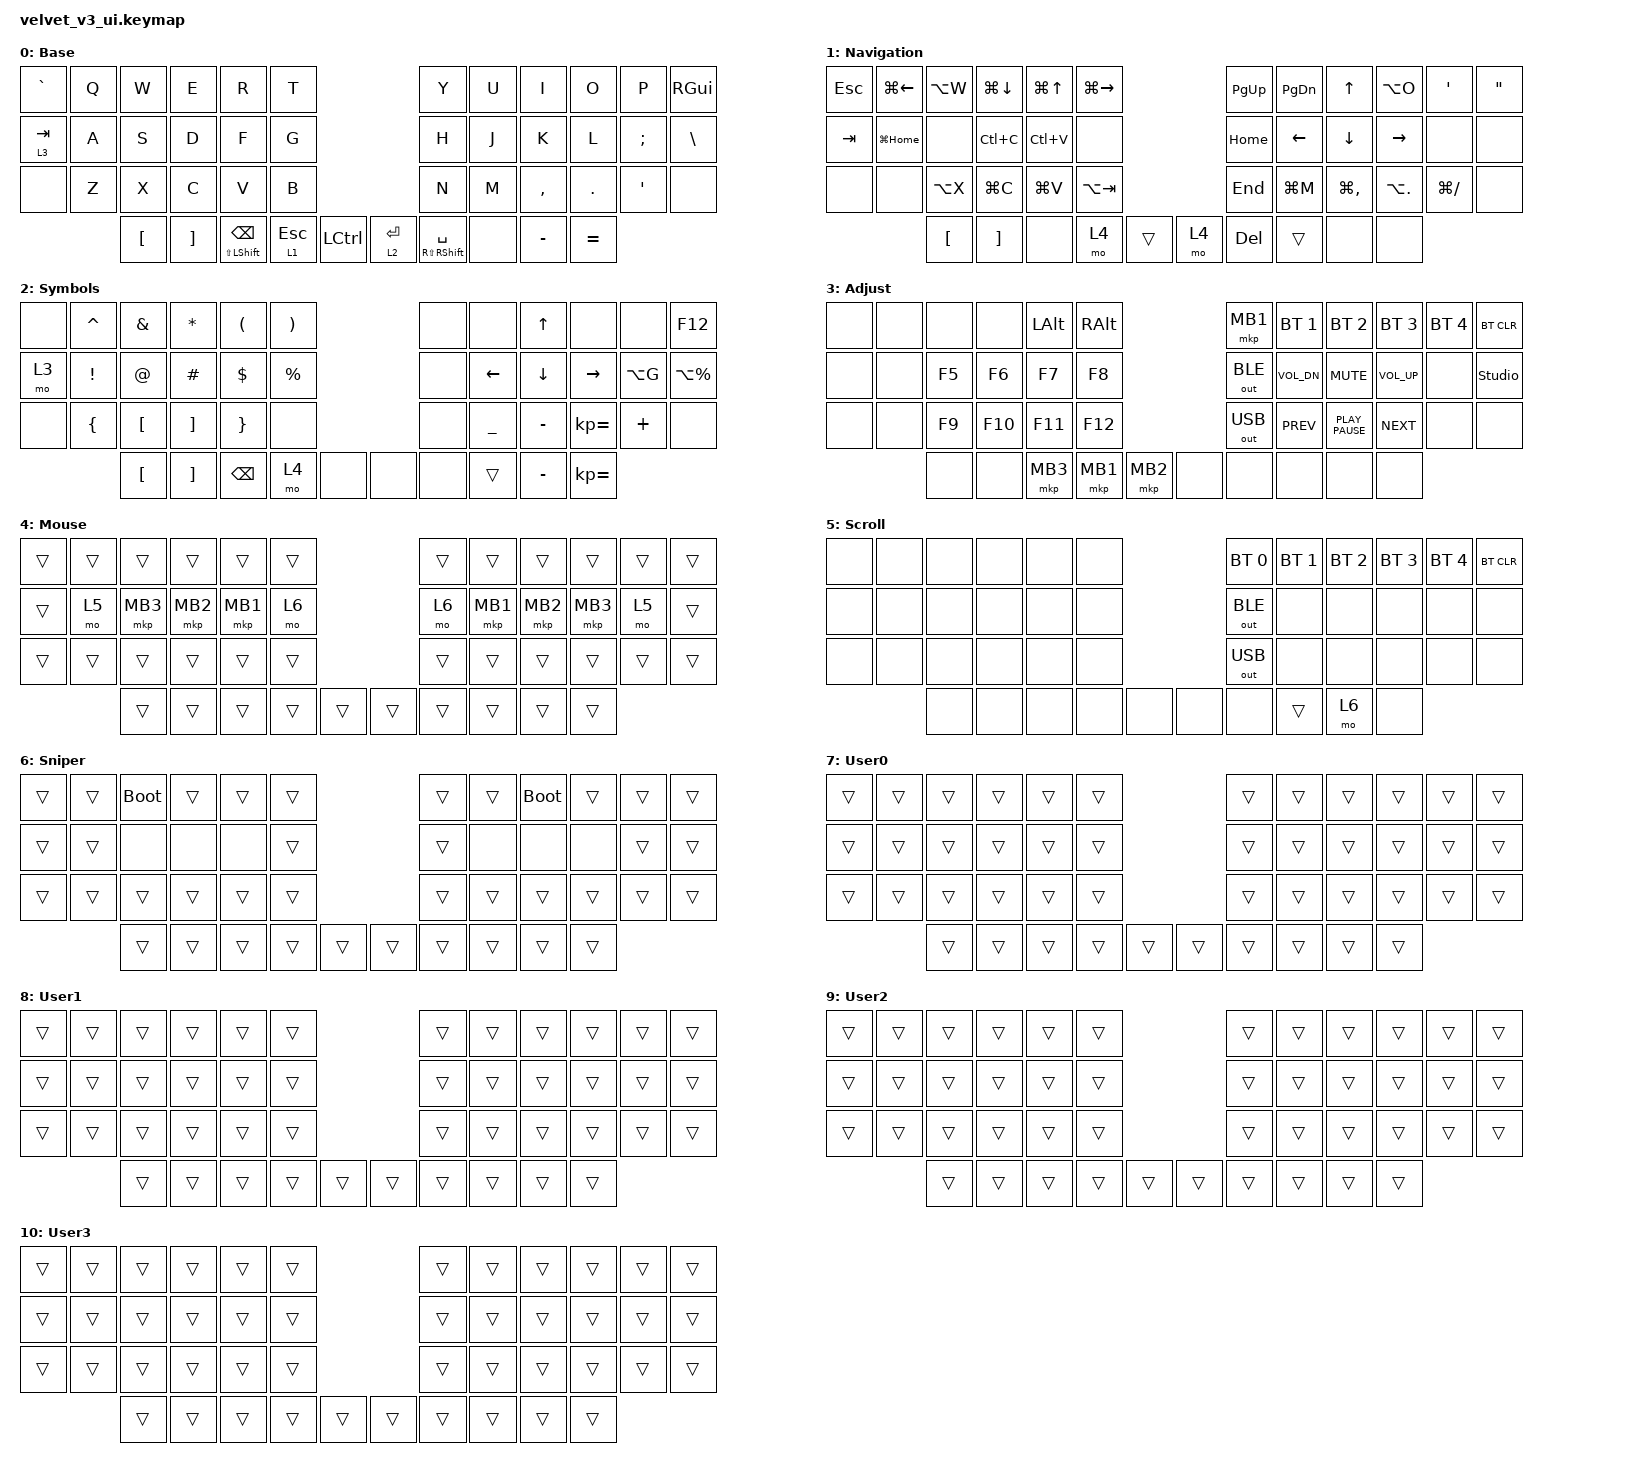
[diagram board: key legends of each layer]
#include "keys_ru.h"
#include <dt-bindings/zmk/input_transform.h>
#include <input/processors.dtsi>
#include <zephyr/dt-bindings/input/input-event-codes.h>
#include <behaviors.dtsi>
#include <dt-bindings/zmk/bt.h>
#include <dt-bindings/zmk/keys.h>
#include <dt-bindings/zmk/outputs.h>
#include <dt-bindings/zmk/pointing.h>

/ {
    behaviors {
        cap_sen: cap_sen {
            compatible = "zmk,behavior-hold-tap";
            label = "CAP_SEN";
            bindings = <&mo>, <&mkp>;

            #binding-cells = <2>;
            tapping-term-ms = <150>;
            hold-while-undecided;
        };

        mouse_layer: mouse_layer {
            compatible = "zmk,behavior-sticky-key";
            label = "MOUSE_LAYER";
            bindings = <&mo>;
            #binding-cells = <1>;
            release-after-ms = <200>;
        };

        zip_auto_mouse: zip_auto_mouse {
            compatible = "zmk,input-processor-temp-layer";
            #input-processor-cells = <2>;
            require-prior-idle-ms = <800>;
            excluded-positions = <>;
        };
    };

    keymap {
        compatible = "zmk,keymap";

        base {
            bindings = <
&kp GRAVE  &kp Q  &kp W     &kp E     &kp R               &kp T                                &kp Y                &kp U  &kp I      &kp O      &kp P     &kp RGUI
&lt 3 TAB  &kp A  &kp S     &kp D     &kp F               &kp G                                &kp H                &kp J  &kp K      &kp L      &kp SEMI  &kp BSLH
&none      &kp Z  &kp X     &kp C     &kp V               &kp B                                &kp N                &kp M  &kp COMMA  &kp DOT    &kp SQT   &none
                  &kp LBKT  &kp RBKT  &mt LS(LSHFT) BSPC  &lt 1 ESC  &kp LCTRL    &lt 2 ENTER  &mt RS(RSHFT) SPACE  &none  &kp MINUS  &kp EQUAL
            >;

            display-name = "Base";
        };

        nav {
            bindings = <
&kp ESC  &kp LG(LEFT_ARROW)  &kp LA(W)         &kp LG(DOWN_ARROW)  &kp LG(UP)  &kp LG(RIGHT_ARROW)                   &kp PG_UP   &kp PAGE_DOWN  &kp UP         &kp LA(O)        &kp SINGLE_QUOTE  &kp DOUBLE_QUOTES
&kp TAB  &kp LG(HOME)        &none             &kp LC(C)           &kp LC(V)   &none                                 &kp HOME    &kp LEFT       &kp DOWN       &kp RIGHT_ARROW  &none             &none
&none    &none               &kp LA(X)         &kp LG(C)           &kp LG(V)   &kp LA(TAB)                           &kp END     &kp LG(M)      &kp LG(COMMA)  &kp LA(DOT)      &kp LG(SLASH)     &none
                             &kp LEFT_BRACKET  &kp RIGHT_BRACKET   &none       &mo 4                &trans    &mo 4  &kp DELETE  &trans         &none          &none
            >;

            display-name = "Navigation";
        };

        sym {
            bindings = <
&none  &kp CARET        &kp AMPERSAND     &kp ASTRK          &kp LEFT_PARENTHESIS  &kp RIGHT_PARENTHESIS                  &none  &none           &kp UP     &none            &none      &kp F12
&mo 3  &kp EXCLAMATION  &kp AT_SIGN       &kp HASH           &kp DLLR              &kp PERCENT                            &none  &kp LEFT_ARROW  &kp DOWN   &kp RIGHT_ARROW  &kp LA(G)  &kp LA(PERCENT)
&none  &kp LEFT_BRACE   &kp LEFT_BRACKET  &kp RIGHT_BRACKET  &kp RIGHT_BRACE       &none                                  &none  &kp UNDER       &kp MINUS  &kp KP_EQUAL     &kp PLUS   &none
                        &kp LEFT_BRACKET  &kp RIGHT_BRACKET  &kp BSPC              &mo 4                  &none    &none  &none  &trans          &kp MINUS  &kp KP_EQUAL
            >;

            display-name = "Symbols";
        };

        adj {
            bindings = <
&none  &none  &none   &none    &kp LEFT_ALT  &kp RALT                     &mkp MB1      &bt BT_SEL 1  &bt BT_SEL 2      &bt BT_SEL 3  &bt BT_SEL 4  &bt BT_CLR
&none  &none  &kp F5  &kp F6   &kp F7        &kp F8                       &out OUT_BLE  &kp C_VOL_DN  &kp K_MUTE        &kp C_VOL_UP  &none         &studio_unlock
&none  &none  &kp F9  &kp F10  &kp F11       &kp F12                      &out OUT_USB  &kp K_PREV    &kp K_PLAY_PAUSE  &kp K_NEXT    &none         &none
              &none   &none    &mkp MB3      &mkp MB1  &mkp MB2    &none  &none         &none         &none             &none
            >;

            display-name = "Adjust";
        };

        mouse {
            bindings = <
&trans  &trans  &trans    &trans    &trans    &trans                    &trans  &trans    &trans    &trans    &trans  &trans
&trans  &mo 5   &mkp MB3  &mkp MB2  &mkp MB1  &mo 6                     &mo 6   &mkp MB1  &mkp MB2  &mkp MB3  &mo 5   &trans
&trans  &trans  &trans    &trans    &trans    &trans                    &trans  &trans    &trans    &trans    &trans  &trans
                &trans    &trans    &trans    &trans  &trans    &trans  &trans  &trans    &trans    &trans
            >;

            display-name = "Mouse";
        };

        scroll {
            bindings = <
&none  &none  &none  &none  &none  &none                  &bt BT_SEL 0  &bt BT_SEL 1  &bt BT_SEL 2  &bt BT_SEL 3  &bt BT_SEL 4  &bt BT_CLR
&none  &none  &none  &none  &none  &none                  &out OUT_BLE  &none         &none         &none         &none         &none
&none  &none  &none  &none  &none  &none                  &out OUT_USB  &none         &none         &none         &none         &none
              &none  &none  &none  &none  &none    &none  &none         &trans        &mo 6         &none
            >;

            display-name = "Scroll";
        };

        sniper {
            bindings = <
&trans  &trans  &bootloader  &trans  &trans  &trans                    &trans  &trans  &bootloader  &trans  &trans  &trans
&trans  &trans  &none        &none   &none   &trans                    &trans  &none   &none        &none   &trans  &trans
&trans  &trans  &trans       &trans  &trans  &trans                    &trans  &trans  &trans       &trans  &trans  &trans
                &trans       &trans  &trans  &trans  &trans    &trans  &trans  &trans  &trans       &trans
            >;

            display-name = "Sniper";
        };

        User0 {
            bindings = <
&trans  &trans  &trans  &trans  &trans  &trans                    &trans  &trans  &trans  &trans  &trans  &trans
&trans  &trans  &trans  &trans  &trans  &trans                    &trans  &trans  &trans  &trans  &trans  &trans
&trans  &trans  &trans  &trans  &trans  &trans                    &trans  &trans  &trans  &trans  &trans  &trans
                &trans  &trans  &trans  &trans  &trans    &trans  &trans  &trans  &trans  &trans
            >;

            display-name = "User0";
        };

        User1 {
            bindings = <
&trans  &trans  &trans  &trans  &trans  &trans                    &trans  &trans  &trans  &trans  &trans  &trans
&trans  &trans  &trans  &trans  &trans  &trans                    &trans  &trans  &trans  &trans  &trans  &trans
&trans  &trans  &trans  &trans  &trans  &trans                    &trans  &trans  &trans  &trans  &trans  &trans
                &trans  &trans  &trans  &trans  &trans    &trans  &trans  &trans  &trans  &trans
            >;

            display-name = "User1";
        };

        User2 {
            bindings = <
&trans  &trans  &trans  &trans  &trans  &trans                    &trans  &trans  &trans  &trans  &trans  &trans
&trans  &trans  &trans  &trans  &trans  &trans                    &trans  &trans  &trans  &trans  &trans  &trans
&trans  &trans  &trans  &trans  &trans  &trans                    &trans  &trans  &trans  &trans  &trans  &trans
                &trans  &trans  &trans  &trans  &trans    &trans  &trans  &trans  &trans  &trans
            >;

            display-name = "User2";
        };

        User3 {
            bindings = <
&trans  &trans  &trans  &trans  &trans  &trans                    &trans  &trans  &trans  &trans  &trans  &trans
&trans  &trans  &trans  &trans  &trans  &trans                    &trans  &trans  &trans  &trans  &trans  &trans
&trans  &trans  &trans  &trans  &trans  &trans                    &trans  &trans  &trans  &trans  &trans  &trans
                &trans  &trans  &trans  &trans  &trans    &trans  &trans  &trans  &trans  &trans
            >;

            display-name = "User3";
        };
    };
};

&trackball { cpi = <1000>; };

&trackball_listener {
    input-processors = <&zip_auto_mouse 4 500>, <&zip_xy_scaler 9 20>;

    scroller {
        layers = <5>;
        input-processors =
            <&zip_xy_transform INPUT_TRANSFORM_Y_INVERT>,
            <&zip_xy_scaler 1 32>,
            <&zip_xy_to_scroll_mapper>;
    };

    sniper {
        layers = <6>;
        input-processors = <&zip_xy_scaler 1 4>;
    };
};
